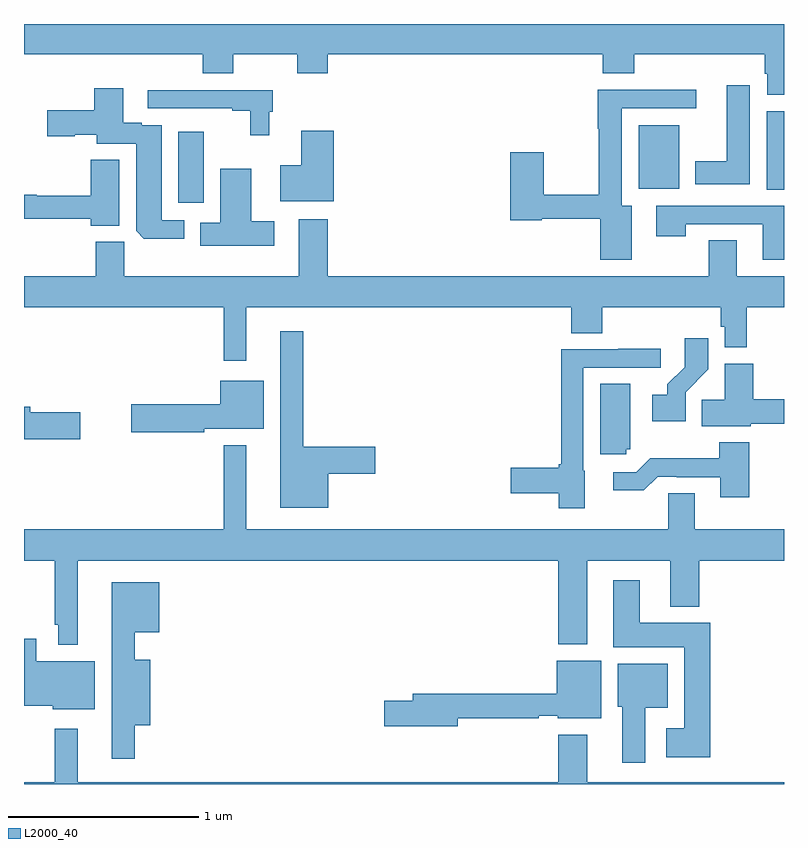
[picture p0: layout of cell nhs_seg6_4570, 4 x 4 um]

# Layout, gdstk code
import gdstk
lib = gdstk.Library(unit=1e-6, precision=1e-09)
def R(c, l, rs):  # rectangles x0, y0, x1, y1
    for r in rs: c.add(gdstk.rectangle(r[:2], r[2:], *l))
def P(c, l, *ps):  # polygons
    for p in ps: c.add(gdstk.Polygon(p, *l))
L2000_40 = (2000, 40)

nhs_seg6_4570 = lib.new_cell('nhs_seg6_4570')
R(nhs_seg6_4570, L2000_40, [(381.812,942.558,381.946,942.934), (384.908,942.628,385,943.042), (384.236,942.632,384.448,942.967)])
P(nhs_seg6_4570, L2000_40, [(385,943.5),(381,943.5),(381,943.34),(381.941,943.34),(381.941,943.241),(382.101,943.241),(382.101,943.34),(382.438,943.34),(382.438,943.241),(382.598,943.241),(382.598,943.34),(384.047,943.34),(384.047,943.241),(384.212,943.241),(384.212,943.34),(384.899,943.34),(384.899,943.239),(384.911,943.239),(384.911,943.127),(385,943.127)],
  [(384.82,943.177),(384.698,943.177),(384.698,942.778),(384.533,942.778),(384.533,942.656),(384.82,942.656)],
  [(381.843,942.468),(381.724,942.468),(381.724,942.966),(381.62,942.966),(381.62,942.979),(381.523,942.979),(381.523,943.162),(381.371,943.162),(381.371,943.047),(381.123,943.047),(381.123,942.91),(381.266,942.91),(381.266,942.917),(381.383,942.917),(381.383,942.87),(381.59,942.87),(381.59,942.412),(381.631,942.371),(381.843,942.371)],
  [(384.199,942.544),(384.145,942.544),(384.145,943.056),(384.538,943.056),(384.538,943.154),(384.02,943.154),(384.02,942.949),(384.025,942.949),(384.025,942.602),(383.736,942.602),(383.736,942.826),(383.558,942.826),(383.558,942.466),(383.724,942.466),(383.724,942.474),(384.032,942.474),(384.032,942.258),(384.199,942.258)],
  [(382.291,943.038),(382.31,943.038),(382.31,943.152),(381.651,943.152),(381.651,943.056),(382.097,943.056),(382.097,943.044),(382.192,943.044),(382.192,942.915),(382.291,942.915)],
  [(382.631,942.937),(382.46,942.937),(382.46,942.757),(382.349,942.757),(382.349,942.566),(382.631,942.566)],
  [(381.502,942.785),(381.35,942.785),(381.35,942.595),(381.066,942.595),(381.066,942.602),(381,942.602),(381,942.474),(381.35,942.474),(381.35,942.439),(381.502,942.439)],
  [(382.318,942.462),(382.195,942.462),(382.195,942.739),(382.034,942.739),(382.034,942.454),(381.928,942.454),(381.928,942.332),(382.318,942.332)],
  [(385,942.543),(384.327,942.543),(384.327,942.384),(384.483,942.384),(384.483,942.447),(384.887,942.447),(384.887,942.258),(385,942.258)],
  [(382.171,942.008),(383.879,942.008),(383.879,941.872),(384.044,941.872),(384.044,942.008),(384.667,942.008),(384.667,941.907),(384.687,941.907),(384.687,941.798),(384.803,941.798),(384.803,942.008),(385,942.008),(385,942.172),(384.751,942.172),(384.751,942.362),(384.604,942.362),(384.604,942.172),(382.598,942.172),(382.598,942.472),(382.445,942.472),(382.445,942.172),(381.527,942.172),(381.527,942.354),(381.377,942.354),(381.377,942.172),(381,942.172),(381,942.008),(382.05,942.008),(382.05,941.727),(382.171,941.727)],
  [(382.6,941.134),(382.849,941.134),(382.849,941.276),(382.471,941.276),(382.471,941.884),(382.349,941.884),(382.349,940.955),(382.6,940.955)],
  [(384.483,941.563),(384.602,941.682),(384.602,941.845),(384.477,941.845),(384.477,941.693),(384.386,941.603),(384.386,941.548),(384.306,941.548),(384.306,941.408),(384.483,941.408)],
  [(383.95,941.148),(383.943,941.148),(383.943,941.691),(384.352,941.691),(384.352,941.79),(384.127,941.79),(384.127,941.787),(383.827,941.787),(383.827,941.183),(383.814,941.183),(383.814,941.165),(383.562,941.165),(383.562,941.03),(383.814,941.03),(383.814,940.952),(383.95,940.952)],
  [(384.826,941.395),(385,941.395),(385,941.524),(384.839,941.524),(384.839,941.713),(384.689,941.713),(384.689,941.522),(384.568,941.522),(384.568,941.384),(384.826,941.384)],
  [(381.948,941.369),(382.261,941.369),(382.261,941.623),(382.034,941.623),(382.034,941.498),(381.564,941.498),(381.564,941.351),(381.948,941.351)],
  [(384.171,941.262),(384.19,941.262),(384.19,941.606),(384.032,941.606),(384.032,941.235),(384.171,941.235)],
  [(381.295,941.456),(381.034,941.456),(381.034,941.485),(381,941.485),(381,941.314),(381.295,941.314)],
  [(384.818,941.299),(384.658,941.299),(384.658,941.215),(384.295,941.215),(384.222,941.142),(384.102,941.142),(384.102,941.045),(384.263,941.045),(384.336,941.118),(384.436,941.118),(384.436,941.115),(384.665,941.115),(384.665,941.01),(384.818,941.01)],
  [(381.283,940.676),(383.813,940.676),(383.813,940.235),(383.965,940.235),(383.965,940.676),(384.401,940.676),(384.401,940.433),(384.554,940.433),(384.554,940.676),(385,940.676),(385,940.84),(384.529,940.84),(384.529,941.03),(384.39,941.03),(384.39,940.84),(382.171,940.84),(382.171,941.284),(382.05,941.284),(382.05,940.84),(381,940.84),(381,940.676),(381.162,940.676),(381.162,940.339),(381.179,940.339),(381.179,940.232),(381.283,940.232)],
  [(384.611,940.348),(384.241,940.348),(384.241,940.573),(384.101,940.573),(384.101,940.22),(384.476,940.22),(384.476,939.793),(384.381,939.793),(384.381,939.641),(384.611,939.641)],
  [(381.583,939.809),(381.664,939.809),(381.664,940.153),(381.583,940.153),(381.583,940.298),(381.712,940.298),(381.712,940.561),(381.461,940.561),(381.461,939.633),(381.583,939.633)],
  [(381.373,940.147),(381.064,940.147),(381.064,940.264),(381,940.264),(381,939.911),(381.15,939.911),(381.15,939.893),(381.373,939.893)],
  [(383.284,939.846),(383.708,939.846),(383.708,939.858),(383.808,939.858),(383.808,939.845),(384.037,939.845),(384.037,940.15),(383.804,940.15),(383.804,939.974),(383.045,939.974),(383.045,939.938),(382.896,939.938),(382.896,939.803),(383.284,939.803)],
  [(384.271,939.902),(384.388,939.902),(384.388,940.132),(384.125,940.132),(384.125,939.906),(384.149,939.906),(384.149,939.612),(384.271,939.612)],
  [(381.283,939.79),(381.162,939.79),(381.162,939.508),(381,939.508),(381,939.5),(385,939.5),(385,939.508),(383.965,939.508),(383.965,939.76),(383.813,939.76),(383.813,939.508),(381.283,939.508)])

lib.write_gds('nhs_seg6_4570.gds')
